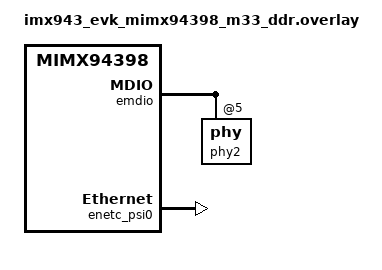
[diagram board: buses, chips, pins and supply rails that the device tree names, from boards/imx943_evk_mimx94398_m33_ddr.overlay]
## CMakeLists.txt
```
# SPDX-License-Identifier: Apache-2.0

cmake_minimum_required(VERSION 3.13.1)

find_package(Zephyr REQUIRED HINTS $ENV{ZEPHYR_BASE})
project(vlan)

target_sources(app PRIVATE src/main.c)

include(${ZEPHYR_BASE}/samples/net/common/common.cmake)
```

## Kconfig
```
# Private config options for VLAN sample app

# Copyright (c) 2018 Intel Corporation
# SPDX-License-Identifier: Apache-2.0

mainmenu "Networking VLAN sample application"

config NET_SAMPLE_IFACE2_MY_IPV6_ADDR
	string "My IPv6 address for second interface"
	help
	  The value depends on your network setup.

config NET_SAMPLE_IFACE2_MY_IPV4_ADDR
	string "My IPv4 address for second interface"
	help
	  The value depends on your network setup.

config NET_SAMPLE_IFACE2_MY_IPV4_NETMASK
	string "My IPv4 netmask for second interface"
	help
	  The value depends on your network setup.

config NET_SAMPLE_IFACE2_VLAN_TAG
	int "VLAN tag for second interface"
	default 100
	range 0 4094
	depends on NET_VLAN
	help
	  Set VLAN (virtual LAN) tag (id) that is used in the sample
	  application.

config NET_SAMPLE_IFACE3_MY_IPV6_ADDR
	string "My IPv6 address for third interface"
	help
	  The value depends on your network setup.

config NET_SAMPLE_IFACE3_MY_IPV4_ADDR
	string "My IPv4 address for third interface"
	help
	  The value depends on your network setup.

config NET_SAMPLE_IFACE3_MY_IPV4_NETMASK
	string "My IPv4 netmask for third interface"
	help
	  The value depends on your network setup.

config NET_SAMPLE_IFACE3_VLAN_TAG
	int "VLAN tag for third interface"
	default 200
	range 0 4094
	depends on NET_VLAN
	help
	  Set VLAN (virtual LAN) tag (id) that is used in the sample
	  application.

source "Kconfig.zephyr"
```

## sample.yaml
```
common:
  harness: net
  tags:
    - net
    - vlan
sample:
  description: Test VLAN functionality
  name: VLAN sample app
tests:
  sample.net.vlan:
    depends_on: eth
```

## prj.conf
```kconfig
CONFIG_NETWORKING=y
CONFIG_NET_LOG=y
CONFIG_NET_IPV6=y
CONFIG_NET_IPV4=y
CONFIG_NET_DHCPV4=n
CONFIG_NET_UDP=y
CONFIG_NET_TCP=y
CONFIG_NET_STATISTICS=y

CONFIG_TEST_RANDOM_GENERATOR=y

CONFIG_NET_PKT_RX_COUNT=32
CONFIG_NET_PKT_TX_COUNT=32
CONFIG_NET_BUF_RX_COUNT=32
CONFIG_NET_BUF_TX_COUNT=32
CONFIG_NET_IF_UNICAST_IPV6_ADDR_COUNT=5
CONFIG_NET_IF_MCAST_IPV6_ADDR_COUNT=5
CONFIG_NET_IF_UNICAST_IPV4_ADDR_COUNT=1
CONFIG_NET_MAX_CONTEXTS=10

CONFIG_NET_IF_MAX_IPV6_COUNT=3
CONFIG_NET_IF_MAX_IPV4_COUNT=3

CONFIG_INIT_STACKS=y
CONFIG_PRINTK=y
CONFIG_NET_SHELL=y

# Ethernet is needed for VLAN
CONFIG_NET_L2_ETHERNET=y

CONFIG_NET_CONFIG_NEED_IPV6=y
CONFIG_NET_CONFIG_NEED_IPV4=y
CONFIG_NET_CONFIG_SETTINGS=y

# IPv6 prefix len
CONFIG_NET_SAMPLE_IFACE_MY_IPV6_PREFIXLEN=64

# First ethernet interface will use these settings
CONFIG_NET_CONFIG_MY_IPV6_ADDR="2001:db8::1"
CONFIG_NET_CONFIG_PEER_IPV6_ADDR="2001:db8::2"
CONFIG_NET_CONFIG_MY_IPV4_ADDR="192.0.2.1"
CONFIG_NET_CONFIG_PEER_IPV4_ADDR="192.0.2.2"

# First VLAN interface will have these settings
# TEST-NET-2 from RFC 5737
CONFIG_NET_SAMPLE_COMMON_VLAN_SETUP_1="100;2001:db8:100::1/64,198.51.100.1/24"

# Second VLAN interface will have these settings
# TEST-NET-3 from RFC 5737
CONFIG_NET_SAMPLE_COMMON_VLAN_SETUP_2="200;2001:db8:200::1/64,203.0.113.1/24"

# Logging
CONFIG_LOG=y

# VLAN settings.
CONFIG_NET_VLAN=y
CONFIG_NET_VLAN_COUNT=2
```

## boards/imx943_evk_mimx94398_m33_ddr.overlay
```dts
/*
 * Copyright 2025 NXP
 *
 * SPDX-License-Identifier: Apache-2.0
 */

&emdio {
	status = "okay";

	phy2: phy@5 {
		status = "okay";
	};
};

&enetc_psi0 {
	status = "okay";
};
```

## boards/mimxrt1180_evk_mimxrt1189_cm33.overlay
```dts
/*
 * Copyright 2025 NXP
 *
 * SPDX-License-Identifier: Apache-2.0
 */

/* Disable enetc_psi1 leaving only enetc_psi0 */
&enetc_psi1 {
	status = "disabled";
};
```

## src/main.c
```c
/*
 * Copyright (c) 2018 Intel Corporation.
 *
 * SPDX-License-Identifier: Apache-2.0
 */

#include <zephyr/logging/log.h>
LOG_MODULE_REGISTER(net_vlan_sample, LOG_LEVEL_DBG);

#include <zephyr/kernel.h>
#include <errno.h>

#include <zephyr/net/net_core.h>
#include <zephyr/net/net_l2.h>
#include <zephyr/net/net_if.h>
#include <zephyr/net/ethernet.h>

#include "net_sample_common.h"

int main(void)
{
	init_vlan();
	return 0;
}
```
